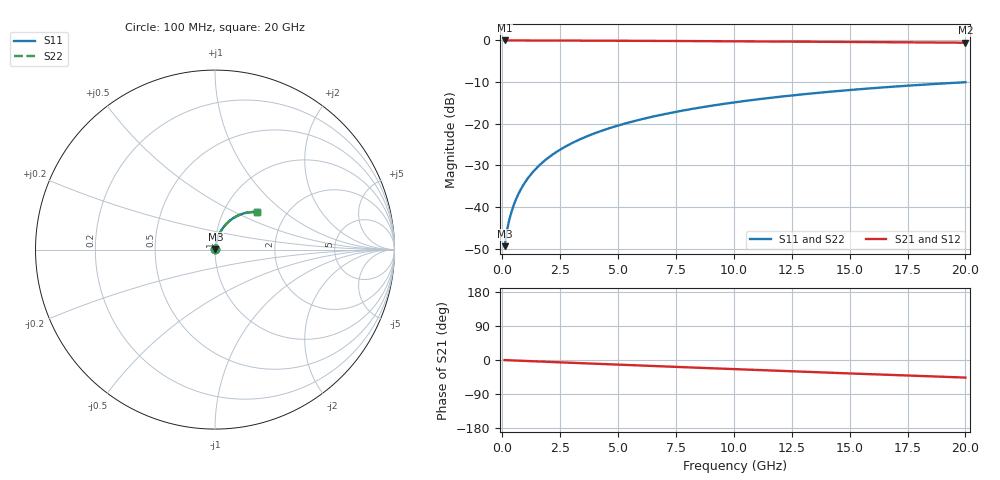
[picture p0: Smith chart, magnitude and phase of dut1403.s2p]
! Touchstone file exported from HFSS 2026.1.0
!  File:  C:/ffzhzh/LocalFiles/Ansys_Project_Files/temp_train_TMRDL_1403_1783166409_51560.aedt
!  Generated:  08:01:19 PM Jul  4, 2026
!  Design:  TMRDL
!  Project:  temp_train_TMRDL_1403_1783166409_51560
! Variables:
!  h_bsmrdl = 2um
!  h_ox = 20um
!  h_rdl = 5um
!  h_sub = 80um
!  h_tmrdl = 4.19um
!  h_tsv = 80um
!  h_via = 3um
!  l_bsmrdl = 300um
!  l_sub = 1140.59um
!  l_tmrdl = 740.59um
!  m_sub = 200um
!  pitch = 47.71um
!  r_tsv = 6um
!  s_tmrdl = 10um
!  w_bsmrdl = 18um
!  w_sub = 500um
!  w_tmrdl = 28.1um
!  x_tsv_center1 = 754.64um
!  x_tsv_center2 = 1072.64um
!  x_tsv_center3 = 1841.33um
!  x_tsv_center4 = 2159.33um
!  x_tsv_center5 = 2928.02um
!  x_tsv_center6 = 3246.02um
# GHz S MA R 50.000000
! Terminal data exported
! Port[1] = TM_RDL1_1_T1
! Port[2] = TM_RDL1_1_T2
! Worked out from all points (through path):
!   200 points, 100 MHz to 20 GHz, reference 50 ohm
!   highest |S21| = -0.02 dB at 100 MHz (marker M1); lowest = -0.6 dB at 20 GHz (marker M2)
!   group delay of S21, straight-line fit = 6.44 ps
!   lowest |S11| = -49.4 dB at 100 MHz (marker M3), VSWR 1.01, Z = 50.3 + j0.228 ohm
!   |S11| at or under -10 dB: start of sweep to end of sweep
!   |S22| runs from -49.4 to -10.0 dB; largest |S21 - S12| = 3.5e-15
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0.1  0.003377 42.2  0.9975 -0.3  0.9975 -0.3  0.003377 42.2
! Gamma 0 0 0 0
! Port Impedance 50 0 50 0
0.2  0.00515 57.5  0.9973 -0.5  0.9973 -0.5  0.00515 57.5
0.3  0.006967 64.5  0.9971 -0.8  0.9971 -0.8  0.006967 64.5
0.4  0.00879 68.7  0.9969 -1.0  0.9969 -1.0  0.00879 68.7
0.5  0.01063 71.6  0.9968 -1.3  0.9968 -1.3  0.01063 71.6
0.6  0.01249 73.7  0.9967 -1.5  0.9967 -1.5  0.01249 73.7
0.8  0.01626 76.3  0.9966 -2.0  0.9966 -2.0  0.01627 76.3
1.1  0.02199 78.3  0.9963 -2.7  0.9963 -2.7  0.02199 78.3
1.3  0.02583 78.9  0.9962 -3.2  0.9962 -3.2  0.02583 78.9
1.6  0.03158 79.4  0.9958 -4.0  0.9958 -4.0  0.03159 79.3
2.1  0.04116 79.3  0.9952 -5.2  0.9952 -5.2  0.04116 79.3
2.7  0.05255 78.6  0.9943 -6.7  0.9943 -6.7  0.05255 78.5
3.5  0.06753 77.2  0.9928 -8.6  0.9928 -8.6  0.06753 77.2
4.2  0.08043 75.8  0.9913 -10.3  0.9913 -10.3  0.08043 75.8
5  0.09493 74.1  0.9894 -12.2  0.9894 -12.2  0.09493 74.1
5.9  0.1109 72.2  0.9871 -14.4  0.9871 -14.4  0.1109 72.1
6.8  0.1266 70.2  0.9846 -16.5  0.9846 -16.5  0.1266 70.1
8.3  0.152 66.9  0.9802 -20.1  0.9802 -20.1  0.152 66.8
10.1  0.1812 62.9  0.9744 -24.3  0.9744 -24.3  0.1812 62.9
13.4  0.2311 55.7  0.9627 -31.8  0.9627 -31.8  0.2311 55.6
16.7  0.2757 48.6  0.9503 -39.2  0.9503 -39.2  0.2757 48.5
20  0.3145 41.7  0.9377 -46.4  0.9377 -46.4  0.3145 41.5
